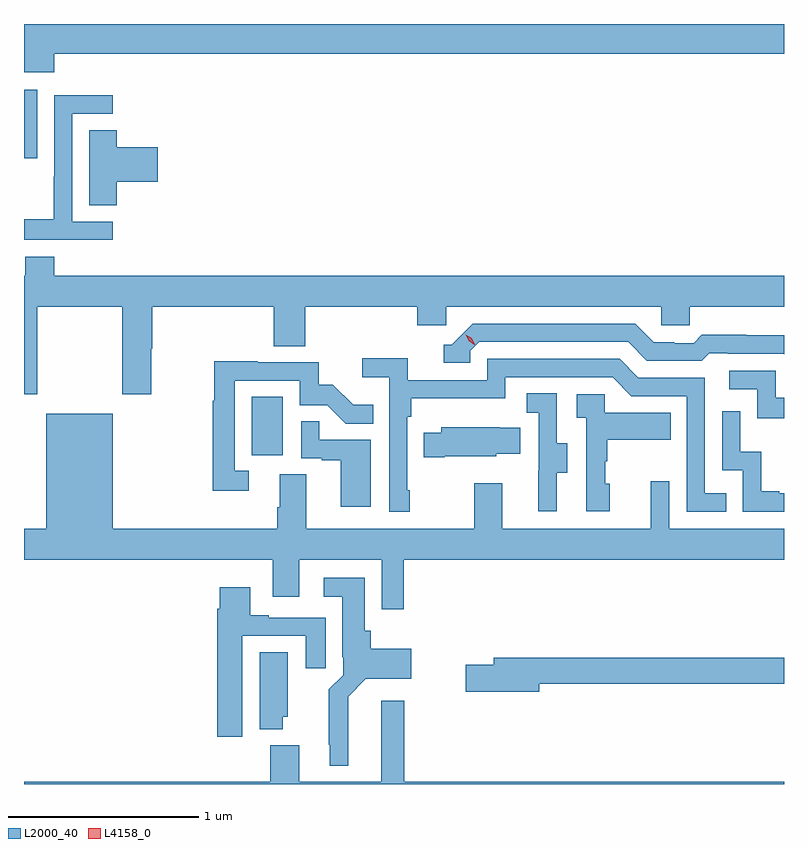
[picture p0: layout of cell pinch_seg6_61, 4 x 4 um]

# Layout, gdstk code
import gdstk
lib = gdstk.Library(unit=1e-6, precision=1e-09)
def R(c, l, rs):  # rectangles x0, y0, x1, y1
    for r in rs: c.add(gdstk.rectangle(r[:2], r[2:], *l))
def P(c, l, *ps):  # polygons
    for p in ps: c.add(gdstk.Polygon(p, *l))
L2000_40 = (2000, 40)
L4158_0 = (4158, 0)

pinch_seg6_61 = lib.new_cell('pinch_seg6_61')
R(pinch_seg6_61, L2000_40, [(995.6,942.558,995.764,942.865), (994.402,944.121,994.471,944.482)])
P(pinch_seg6_61, L2000_40, [(994.562,944.672),(998.402,944.672),(998.402,944.828),(994.402,944.828),(994.402,944.573),(994.562,944.573)],
  [(994.87,943.788),(994.656,943.788),(994.656,944.355),(994.87,944.355),(994.87,944.454),(994.56,944.454),(994.56,944.024),(994.558,944.024),(994.558,943.801),(994.402,943.801),(994.402,943.692),(994.87,943.692)],
  [(994.889,943.997),(995.107,943.997),(995.107,944.18),(994.889,944.18),(994.889,944.27),(994.745,944.27),(994.745,943.873),(994.889,943.873)],
  [(994.473,943.34),(994.918,943.34),(994.918,942.879),(995.073,942.879),(995.073,943.118),(995.078,943.118),(995.078,943.34),(995.717,943.34),(995.717,943.132),(995.882,943.132),(995.882,943.34),(996.473,943.34),(996.473,943.242),(996.624,943.242),(996.624,943.34),(997.755,943.34),(997.755,943.242),(997.905,943.242),(997.905,943.34),(998.402,943.34),(998.402,943.504),(994.562,943.504),(994.562,943.603),(994.409,943.603),(994.409,943.504),(994.402,943.504),(994.402,942.879),(994.473,942.879)],
  [(996.75,943.107),(996.798,943.155),(997.581,943.155),(997.68,943.056),(997.969,943.056),(998.008,943.095),(998.107,943.095),(998.107,943.092),(998.4,943.092),(998.402,943.09),(998.402,943.189),(998.202,943.189),(998.202,943.192),(997.969,943.192),(997.927,943.149),(997.824,943.149),(997.824,943.152),(997.717,943.152),(997.618,943.251),(996.765,943.251),(996.654,943.14),(996.611,943.14),(996.611,943.044),(996.75,943.044)],
  [(996.433,942.373),(996.42,942.373),(996.42,942.761),(996.44,942.761),(996.44,942.857),(996.936,942.857),(996.936,942.969),(997.5,942.969),(997.599,942.87),(997.89,942.87),(997.89,942.261),(998.099,942.261),(998.099,942.357),(997.986,942.357),(997.986,942.966),(997.636,942.966),(997.537,943.065),(996.84,943.065),(996.84,942.954),(996.422,942.954),(996.422,943.07),(996.183,943.07),(996.183,942.968),(996.324,942.968),(996.324,942.261),(996.433,942.261)],
  [(995.584,942.477),(995.511,942.477),(995.511,942.951),(995.853,942.951),(995.853,942.822),(995.997,942.822),(996.095,942.724),(996.239,942.724),(996.239,942.823),(996.135,942.823),(996.028,942.93),(995.952,942.93),(995.952,943.047),(995.633,943.047),(995.633,943.052),(995.403,943.052),(995.403,942.844),(995.395,942.844),(995.395,942.372),(995.584,942.372)],
  [(998.402,942.861),(998.358,942.861),(998.358,943.002),(998.115,943.002),(998.115,942.906),(998.262,942.906),(998.262,942.753),(998.402,942.753)],
  [(997.207,942.466),(997.261,942.466),(997.261,942.621),(997.206,942.621),(997.206,942.884),(997.047,942.884),(997.047,942.781),(997.11,942.781),(997.11,942.477),(997.109,942.477),(997.109,942.264),(997.207,942.264)],
  [(997.486,942.408),(997.461,942.408),(997.461,942.527),(997.471,942.527),(997.471,942.641),(997.805,942.641),(997.805,942.781),(997.458,942.781),(997.458,942.879),(997.311,942.879),(997.311,942.755),(997.362,942.755),(997.362,942.264),(997.486,942.264)],
  [(998.402,942.357),(998.377,942.357),(998.377,942.37),(998.282,942.37),(998.282,942.578),(998.172,942.578),(998.172,942.79),(998.076,942.79),(998.076,942.48),(998.184,942.48),(998.184,942.261),(998.402,942.261)],
  [(996.401,942.008),(998.402,942.008),(998.402,942.172),(997.797,942.172),(997.797,942.421),(997.7,942.421),(997.7,942.172),(996.919,942.172),(996.919,942.412),(996.772,942.412),(996.772,942.172),(995.887,942.172),(995.887,942.458),(995.747,942.458),(995.747,942.284),(995.735,942.284),(995.735,942.172),(994.87,942.172),(994.87,942.778),(994.52,942.778),(994.52,942.172),(994.402,942.172),(994.402,942.008),(995.711,942.008),(995.711,941.814),(995.851,941.814),(995.851,942.008),(996.285,942.008),(996.285,941.748),(996.401,941.748)],
  [(996.226,942.639),(995.957,942.639),(995.957,942.737),(995.862,942.737),(995.862,942.543),(995.969,942.543),(995.969,942.531),(996.068,942.531),(996.068,942.288),(996.226,942.288)],
  [(996.616,942.554),(996.888,942.554),(996.888,942.566),(997.013,942.566),(997.013,942.703),(996.905,942.703),(996.905,942.706),(996.599,942.706),(996.599,942.676),(996.505,942.676),(996.505,942.547),(996.616,942.547)],
  [(996.109,941.288),(996.201,941.381),(996.439,941.381),(996.439,941.539),(996.227,941.539),(996.227,941.634),(996.196,941.634),(996.196,941.914),(995.979,941.914),(995.979,941.813),(996.077,941.813),(996.077,941.494),(996.081,941.494),(996.081,941.4),(996.007,941.326),(996.007,941.035),(996.011,941.035),(996.011,940.925),(996.109,940.925)],
  [(995.551,941.607),(995.885,941.607),(995.885,941.436),(995.989,941.436),(995.989,941.703),(995.689,941.703),(995.689,941.716),(995.593,941.716),(995.593,941.863),(995.432,941.863),(995.432,941.75),(995.42,941.75),(995.42,941.076),(995.551,941.076)],
  [(995.764,941.181),(995.791,941.181),(995.791,941.522),(995.642,941.522),(995.642,941.117),(995.764,941.117)],
  [(997.114,941.356),(998.402,941.356),(998.402,941.492),(996.875,941.492),(996.875,941.456),(996.726,941.456),(996.726,941.314),(997.114,941.314)],
  [(998.402,940.84),(996.404,940.84),(996.404,941.266),(996.281,941.266),(996.281,940.84),(995.851,940.84),(995.851,941.032),(995.699,941.032),(995.699,940.84),(994.402,940.84),(994.402,940.828),(998.402,940.828)])
P(pinch_seg6_61, L4158_0, [(996.773,943.141),(996.743,943.16),(996.727,943.193),(996.727,943.193),(996.727,943.193),(996.758,943.174),(996.774,943.141),(996.774,943.141)])

lib.write_gds('pinch_seg6_61.gds')
